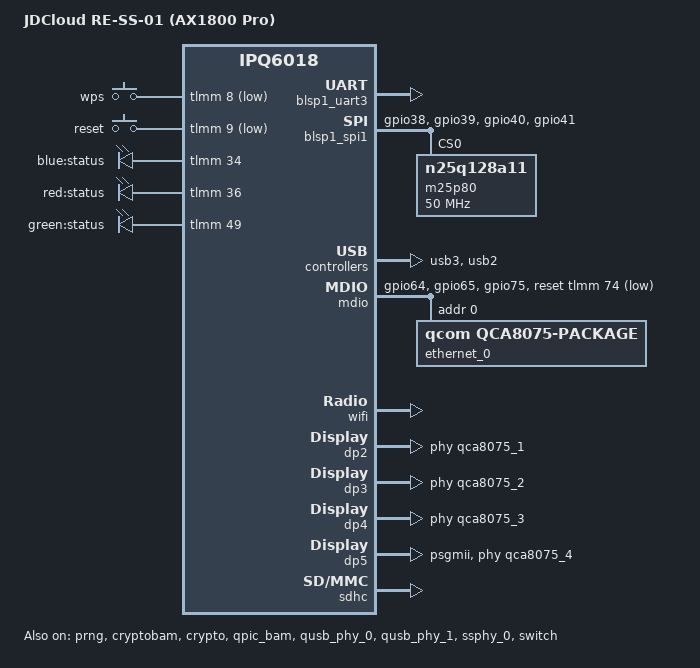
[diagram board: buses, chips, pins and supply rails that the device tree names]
/dts-v1/;
/*
 * Copyright (c) 2019, The Linux Foundation. All rights reserved.
 *
 * Permission to use, copy, modify, and/or distribute this software for any
 * purpose with or without fee is hereby granted, provided that the above
 * copyright notice and this permission notice appear in all copies.
 *
 * THE SOFTWARE IS PROVIDED "AS IS" AND THE AUTHOR DISCLAIMS ALL WARRANTIES
 * WITH REGARD TO THIS SOFTWARE INCLUDING ALL IMPLIED WARRANTIES OF
 * MERCHANTABILITY AND FITNESS. IN NO EVENT SHALL THE AUTHOR BE LIABLE FOR
 * ANY SPECIAL, DIRECT, INDIRECT, OR CONSEQUENTIAL DAMAGES OR ANY DAMAGES
 * WHATSOEVER RESULTING FROM LOSS OF USE, DATA OR PROFITS, WHETHER IN AN
 * ACTION OF CONTRACT, NEGLIGENCE OR OTHER TORTIOUS ACTION, ARISING OUT OF
 * OR IN CONNECTION WITH THE USE OR PERFORMANCE OF THIS SOFTWARE.
 */

#include "ipq6018.dtsi"
#include "ipq6018-512m.dtsi"
#include "ipq6018-ess.dtsi"
#include "ipq6018-nss.dtsi"
#include "ipq6018-common.dtsi"

#include <dt-bindings/input/input.h>
#include <dt-bindings/gpio/gpio.h>
#include <dt-bindings/leds/common.h>

/ {
	model = "JDCloud RE-SS-01 (AX1800 Pro)";
	compatible = "jdcloud,re-ss-01", "qcom,ipq6018-cp03", "qcom,ipq6018";

	aliases {
		serial0 = &blsp1_uart3;
		led-boot = &status_red;
		led-failsafe = &status_red;
		led-running = &status_green;
		led-upgrade = &status_green;
		ethernet1 = &dp2;
		ethernet2 = &dp3;
		ethernet3 = &dp4;
		ethernet4 = &dp5;
	};

	chosen {
		bootargs = "console=ttyMSM0,115200,n8";
		bootargs-append = " rootfstype=squashfs,ext4 swiotlb=1 coherent_pool=2M swiotlb=1";
	};

	gpio_keys {
		compatible = "gpio-keys";
		pinctrl-0 = <&button_pins>;
		pinctrl-names = "default";

		wps {
			label = "wps";
			linux,code = <KEY_WPS_BUTTON>;
			gpios = <&tlmm 8 GPIO_ACTIVE_LOW>;
			linux,input-type = <EV_KEY>;
			debounce-interval = <60>;
		};

		reset {
			label = "reset";
			linux,code = <KEY_RESTART>;
			gpios = <&tlmm 9 GPIO_ACTIVE_LOW>;
			linux,input-type = <EV_KEY>;
			debounce-interval = <60>;
		};
	};

	leds {
		compatible = "gpio-leds";
		pinctrl-0 = <&leds_pins>;
		pinctrl-names = "default";

		status_blue: status_blue {
			label = "blue:status";
			gpios = <&tlmm 34 GPIO_ACTIVE_HIGH>;
		};

		status_red: status_red {
			label = "red:status";
			gpios = <&tlmm 36 GPIO_ACTIVE_HIGH>;
		};

		status_green: status_green {
			label = "green:status";
			gpios = <&tlmm 49 GPIO_ACTIVE_HIGH>;
		};
	};
};

&tlmm {
	gpio-reserved-ranges = <20 1>;

	compatible = "qcom,ipq6000-pinctrl";

	spi_1_pins: spi_1_pins {
		mux {
			pins = "gpio38","gpio39","gpio40","gpio41";
			function = "blsp0_spi";
			drive-strength = <0x08>;
			bias-pull-down;
		};
	};

	button_pins: button_pins {
		mux {
			pins = "gpio8", "gpio9";
			function = "gpio";
			drive-strength = <8>;
			bias-pull-up;
		};
	};

	leds_pins: leds_pins {
		mux {
			pins = "gpio34", "gpio36", "gpio49";
			function = "gpio";
			drive-strength = <8>;
			bias-pull-down;
		};
	};

	mdio_pinmux: mdio_pinmux {
		mux_0 {
			pins = "gpio64";
			function = "mdc";
			drive-strength = <0x08>;
			bias-pull-up;
		};

		mux_1 {
			pins = "gpio65";
			function = "mdio";
			drive-strength = <0x08>;
			bias-pull-up;
		};

		mux_2 {
			pins = "gpio75";
			function = "gpio";
		bias-pull-up;
		};
	};
};


&blsp1_uart3 {
	pinctrl-0 = <&serial_3_pins>;
	pinctrl-names = "default";
	status = "okay";
};

&blsp1_spi1 {
	pinctrl-0 = <&spi_1_pins>;
	pinctrl-names = "default";
	cs-select = <0>;
	status = "okay";

	m25p80@0 {
		#address-cells = <1>;
		#size-cells = <1>;
		reg = <0>;
		compatible = "n25q128a11";
		linux,modalias = "m25p80", "n25q128a11";
		spi-max-frequency = <50000000>;
		use-default-sizes;
	};
};

&prng {
	status = "okay";
};

&cryptobam {
	status = "okay";
};

&crypto {
	status = "okay";
};

&qpic_bam {
	status = "okay";
};

&qusb_phy_0 {
	status = "okay";
};

&qusb_phy_1 {
	status = "okay";
};


&ssphy_0 {
	status = "okay";
};

&usb3 {
	status = "okay";
};

&usb2 {
	status = "okay";
};

&edma {
	status = "okay";
};

&rpm {
	status = "disabled";
};

&mdio {
	status = "okay";

	pinctrl-0 = <&mdio_pinmux>;
	pinctrl-names = "default";
	reset-gpios = <&tlmm 74 GPIO_ACTIVE_LOW>;

	ethernet_0: ethernet-phy-package@0 {
		compatible = "qcom,qca8075-package";
		#address-cells = <1>;
		#size-cells = <0>;
		reg = <0>;
		qcom,package-mode = "psgmii";

		qca8075_1: ethernet-phy@1 {
			compatible = "ethernet-phy-ieee802.3-c22";
			reg = <1>;
		};

		qca8075_2: ethernet-phy@2 {
			compatible = "ethernet-phy-ieee802.3-c22";
			reg = <2>;
		};

		qca8075_3: ethernet-phy@3 {
			compatible = "ethernet-phy-ieee802.3-c22";
			reg = <3>;
		};

		qca8075_4: ethernet-phy@4 {
			compatible = "ethernet-phy-ieee802.3-c22";
			reg = <4>;
		};
	};
};

&switch {
	status = "okay";

	switch_lan_bmp = <(ESS_PORT3 | ESS_PORT4 | ESS_PORT5)>; /* lan port bitmap */
	switch_wan_bmp = <ESS_PORT2>; /* wan port bitmap */
	switch_mac_mode = <MAC_MODE_PSGMII>;

	qcom,port_phyinfo {
		port@1 {
			port_id = <2>;
			phy_address = <1>;
		};

		port@2 {
			port_id = <3>;
			phy_address = <2>;
		};

		port@3 {
			port_id = <4>;
			phy_address = <3>;
		};

		port@4 {
			port_id = <5>;
			phy_address = <4>;
		};
	};
};

&qpic_bam {
	status = "okay";
};

&wifi {
	status = "okay";
	qcom,ath11k-calibration-variant = "JDC-RE-SS-01";
	qcom,ath11k-fw-memory-mode = <1>;
};


&dp2 {
	phy-handle = <&qca8075_1>;
	status = "okay";
	label = "lan1";
};

&dp3 {
	phy-handle = <&qca8075_2>;
	status = "okay";
	label = "lan2";
};

&dp4 {
	phy-handle = <&qca8075_3>;
	status = "okay";
	label = "lan3";
};

&dp5 {
	phy-handle = <&qca8075_4>;
	phy-mode = "psgmii";
	status = "okay";
	label = "wan";
};

&sdhc {
	status = "okay";

	/delete-property/ mmc-hs400-1_8v;
	mmc-hs200-1_8v;
	mmc-ddr-1_8v;
};

&cpu0 {
	/delete-property/ cpu-supply;
};

&cpu1 {
	/delete-property/ cpu-supply;
};

&cpu2 {
	/delete-property/ cpu-supply;
};

&cpu3 {
	/delete-property/ cpu-supply;
};
